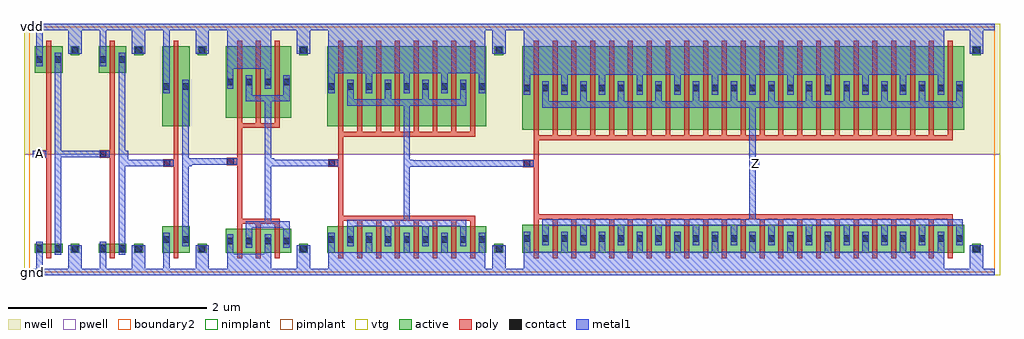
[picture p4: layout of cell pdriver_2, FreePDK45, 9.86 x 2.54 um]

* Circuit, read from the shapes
.subckt pdriver_2 A Z gnd vdd
M1 pinv_5_1/A A gnd gnd nfet w=0.09u l=0.05u
M2 pinv_10_2/A pinv_5_1/A gnd gnd nfet w=0.09u l=0.05u
M3 pinv_11_3/A pinv_10_2/A gnd gnd nfet w=0.27u l=0.05u
M4 pinv_12_4/A pinv_11_3/A gnd gnd nfet w=0.24u l=0.05u m=3
M5 pinv_13_5/A pinv_12_4/A gnd gnd nfet w=0.27u l=0.05u m=8
M6 Z pinv_13_5/A gnd gnd nfet w=0.2825u l=0.05u m=23
M7 pinv_5_1/A A vdd vdd pfet w=0.27u l=0.05u
M8 pinv_10_2/A pinv_5_1/A vdd vdd pfet w=0.27u l=0.05u
M9 pinv_11_3/A pinv_10_2/A vdd vdd pfet w=0.81u l=0.05u
M10 pinv_12_4/A pinv_11_3/A vdd vdd pfet w=0.72u l=0.05u m=3
M11 pinv_13_5/A pinv_12_4/A vdd vdd pfet w=0.81u l=0.05u m=8
M12 Z pinv_13_5/A vdd vdd pfet w=0.845u l=0.05u m=23
.ends

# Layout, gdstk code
import gdstk
lib = gdstk.Library(unit=1e-6, precision=5e-10)
def R(c, l, rs):  # rectangles x0, y0, x1, y1
    for r in rs: c.add(gdstk.rectangle(r[:2], r[2:], *l))
def A(c, l, x, y, w, h, nx, ny, dx, dy):  # array of equal rectangles
    R(c, l, [(x+i*dx, y+j*dy, x+i*dx+w, y+j*dy+h) for i in range(nx) for j in range(ny)])
active = (1, 0)
pwell = (2, 0)
nwell = (3, 0)
nimplant = (4, 0)
pimplant = (5, 0)
vtg = (6, 0)
poly = (9, 0)
contact = (10, 0)
metal1 = (11, 0)
boundary2 = (239, 0)

contact_11 = lib.new_cell('contact_11')
R(contact_11, active, [(0,0.0225,0.09,0.1125)])
R(contact_11, nwell, [(-0.055,-0.0325,0.145,0.1675)])
R(contact_11, pimplant, [(0,0.0225,0.09,0.1125)])
R(contact_11, contact, [(0.0125,0.035,0.0775,0.1)])
R(contact_11, metal1, [(0.0125,0,0.0775,0.135)])

pmos_m1_w0_270_a_p = lib.new_cell('pmos_m1_w0_270_a_p')
R(pmos_m1_w0_270_a_p, active, [(0,0,0.28,0.27)])
R(pmos_m1_w0_270_a_p, nwell, [(-0.055,-0.055,0.335,0.325)])
R(pmos_m1_w0_270_a_p, pimplant, [(0,0,0.28,0.27)])
R(pmos_m1_w0_270_a_p, vtg, [(-0.055,-0.055,0.335,0.325)])
R(pmos_m1_w0_270_a_p, poly, [(0.115,-0.055,0.165,0.325), (0.115,-0.055,0.165,0.325)])
R(pmos_m1_w0_270_a_p, metal1, [(0.0125,0.0675,0.0775,0.2025), (0.2025,0.0675,0.2675,0.2025)])
R(pmos_m1_w0_270_a_p, boundary2, [(-0.055,-0.055,0.335,0.325)])
pmos_m1_w0_270_a_p.add(gdstk.Reference(contact_11, (0,0.0675)))
pmos_m1_w0_270_a_p.add(gdstk.Reference(contact_11, (0.19,0.0675)))
pmos_m1_w0_270_a_p.add(gdstk.Label('G', (0.14,0.135), layer=9, texttype=0))
pmos_m1_w0_270_a_p.add(gdstk.Label('S', (0.045,0.135), layer=11, texttype=0))
pmos_m1_w0_270_a_p.add(gdstk.Label('D', (0.235,0.135), layer=11, texttype=0))

contact_16 = lib.new_cell('contact_16')
R(contact_16, active, [(0,0.0225,0.09,0.1125)])
R(contact_16, pwell, [(-0.055,-0.0325,0.145,0.1675)])
R(contact_16, nimplant, [(0,0.0225,0.09,0.1125)])
R(contact_16, contact, [(0.0125,0.035,0.0775,0.1)])
R(contact_16, metal1, [(0.0125,0,0.0775,0.135)])

nmos_m1_w0_090_a_p = lib.new_cell('nmos_m1_w0_090_a_p')
R(nmos_m1_w0_090_a_p, active, [(0,0,0.28,0.09)])
R(nmos_m1_w0_090_a_p, pwell, [(-0.055,-0.055,0.335,0.145)])
R(nmos_m1_w0_090_a_p, nimplant, [(0,0,0.28,0.09)])
R(nmos_m1_w0_090_a_p, vtg, [(-0.055,-0.055,0.335,0.145)])
R(nmos_m1_w0_090_a_p, poly, [(0.115,-0.055,0.165,0.145), (0.115,-0.055,0.165,0.145)])
R(nmos_m1_w0_090_a_p, metal1, [(0.0125,-0.0225,0.0775,0.1125), (0.2025,-0.0225,0.2675,0.1125)])
R(nmos_m1_w0_090_a_p, boundary2, [(-0.055,-0.055,0.335,0.145)])
nmos_m1_w0_090_a_p.add(gdstk.Reference(contact_16, (0,-0.0225)))
nmos_m1_w0_090_a_p.add(gdstk.Reference(contact_16, (0.19,-0.0225)))
nmos_m1_w0_090_a_p.add(gdstk.Label('G', (0.14,0.045), layer=9, texttype=0))
nmos_m1_w0_090_a_p.add(gdstk.Label('S', (0.045,0.045), layer=11, texttype=0))
nmos_m1_w0_090_a_p.add(gdstk.Label('D', (0.235,0.045), layer=11, texttype=0))

contact_13 = lib.new_cell('contact_13')
R(contact_13, active, [(0.0225,0,0.1125,0.09)])
R(contact_13, nwell, [(-0.0325,-0.055,0.1675,0.145)])
R(contact_13, nimplant, [(0.0225,0,0.1125,0.09)])
R(contact_13, contact, [(0.035,0.0125,0.1,0.0775)])
R(contact_13, metal1, [(0,0.0125,0.135,0.0775)])

contact_17 = lib.new_cell('contact_17')
R(contact_17, active, [(0.0225,0,0.1125,0.09)])
R(contact_17, pwell, [(-0.0325,-0.055,0.1675,0.145)])
R(contact_17, pimplant, [(0.0225,0,0.1125,0.09)])
R(contact_17, contact, [(0.035,0.0125,0.1,0.0775)])
R(contact_17, metal1, [(0,0.0125,0.135,0.0775)])

contact_12 = lib.new_cell('contact_12')
R(contact_12, poly, [(0.03,0,0.105,0.075)])
R(contact_12, contact, [(0.035,0.005,0.1,0.07)])
R(contact_12, metal1, [(0,0.005,0.135,0.07)])

pinv_5 = lib.new_cell('pinv_5')
R(pinv_5, pwell, [(-0.055,-0.0325,0.6975,1.1875)])
R(pinv_5, nwell, [(-0.055,1.1875,0.6975,2.5075)])
R(pinv_5, vtg, [(-0.055,-0.0325,0.6975,1.1875), (-0.055,1.1875,0.6975,2.5075)])
R(pinv_5, poly, [(0.17,0.34,0.22,1.955), (0.1025,1.155,0.17,1.23)])
R(pinv_5, metal1, [(0,-0.0325,0.6425,0.0325), (0.0675,-0.0325,0.1325,0.1725), (0.3925,0,0.5275,0.24), (0.2575,0.1725,0.3225,2.2125), (0.035,1.16,0.17,1.225), (0.29,1.16,0.355,1.225), (0.0675,2.0775,0.1325,2.5075), (0.3925,2.235,0.5275,2.475), (0,2.4425,0.6425,2.5075)])
R(pinv_5, boundary2, [(0,0,0.6425,2.475)])
pinv_5.add(gdstk.Reference(pmos_m1_w0_270_a_p, (0.055,2.01)))
pinv_5.add(gdstk.Reference(nmos_m1_w0_090_a_p, (0.055,0.195)))
pinv_5.add(gdstk.Reference(contact_13, (0.3925,2.19)))
pinv_5.add(gdstk.Reference(contact_17, (0.3925,0.195)))
pinv_5.add(gdstk.Reference(contact_12, (0.035,1.155)))
pinv_5.add(gdstk.Label('gnd', (0.321,0), layer=11, texttype=0))
pinv_5.add(gdstk.Label('vdd', (0.321,2.475), layer=11, texttype=0))
pinv_5.add(gdstk.Label('A', (0.1025,1.1925), layer=11, texttype=0))
pinv_5.add(gdstk.Label('Z', (0.3225,1.1925), layer=11, texttype=0))

pmos_m1_w0_810_a_p = lib.new_cell('pmos_m1_w0_810_a_p')
R(pmos_m1_w0_810_a_p, active, [(0,0,0.28,0.81)])
R(pmos_m1_w0_810_a_p, nwell, [(-0.055,-0.055,0.335,0.865)])
R(pmos_m1_w0_810_a_p, pimplant, [(0,0,0.28,0.81)])
R(pmos_m1_w0_810_a_p, vtg, [(-0.055,-0.055,0.335,0.865)])
R(pmos_m1_w0_810_a_p, poly, [(0.115,-0.055,0.165,0.865), (0.115,-0.055,0.165,0.865)])
R(pmos_m1_w0_810_a_p, metal1, [(0.0125,0.3375,0.0775,0.4725), (0.2025,0.3375,0.2675,0.4725)])
R(pmos_m1_w0_810_a_p, boundary2, [(-0.055,-0.055,0.335,0.865)])
pmos_m1_w0_810_a_p.add(gdstk.Reference(contact_11, (0,0.3375)))
pmos_m1_w0_810_a_p.add(gdstk.Reference(contact_11, (0.19,0.3375)))
pmos_m1_w0_810_a_p.add(gdstk.Label('G', (0.14,0.405), layer=9, texttype=0))
pmos_m1_w0_810_a_p.add(gdstk.Label('S', (0.045,0.405), layer=11, texttype=0))
pmos_m1_w0_810_a_p.add(gdstk.Label('D', (0.235,0.405), layer=11, texttype=0))

nmos_m1_w0_270_a_p = lib.new_cell('nmos_m1_w0_270_a_p')
R(nmos_m1_w0_270_a_p, active, [(0,0,0.28,0.27)])
R(nmos_m1_w0_270_a_p, pwell, [(-0.055,-0.055,0.335,0.325)])
R(nmos_m1_w0_270_a_p, nimplant, [(0,0,0.28,0.27)])
R(nmos_m1_w0_270_a_p, vtg, [(-0.055,-0.055,0.335,0.325)])
R(nmos_m1_w0_270_a_p, poly, [(0.115,-0.055,0.165,0.325), (0.115,-0.055,0.165,0.325)])
R(nmos_m1_w0_270_a_p, metal1, [(0.0125,0.0675,0.0775,0.2025), (0.2025,0.0675,0.2675,0.2025)])
R(nmos_m1_w0_270_a_p, boundary2, [(-0.055,-0.055,0.335,0.325)])
nmos_m1_w0_270_a_p.add(gdstk.Reference(contact_16, (0,0.0675)))
nmos_m1_w0_270_a_p.add(gdstk.Reference(contact_16, (0.19,0.0675)))
nmos_m1_w0_270_a_p.add(gdstk.Label('G', (0.14,0.135), layer=9, texttype=0))
nmos_m1_w0_270_a_p.add(gdstk.Label('S', (0.045,0.135), layer=11, texttype=0))
nmos_m1_w0_270_a_p.add(gdstk.Label('D', (0.235,0.135), layer=11, texttype=0))

pinv_10 = lib.new_cell('pinv_10')
R(pinv_10, pwell, [(-0.055,-0.0325,0.6975,1.1875)])
R(pinv_10, nwell, [(-0.055,1.1875,0.6975,2.5075)])
R(pinv_10, vtg, [(-0.055,-0.0325,0.6975,1.1875), (-0.055,1.1875,0.6975,2.5075)])
R(pinv_10, poly, [(0.17,0.52,0.22,1.415), (0.1025,1.065,0.17,1.14)])
R(pinv_10, metal1, [(0,-0.0325,0.6425,0.0325), (0.0675,-0.0325,0.1325,0.2625), (0.3925,0,0.5275,0.24), (0.2575,0.2625,0.3225,1.9425), (0.035,1.07,0.17,1.135), (0.29,1.07,0.355,1.135), (0.0675,1.8075,0.1325,2.5075), (0.3925,2.235,0.5275,2.475), (0,2.4425,0.6425,2.5075)])
R(pinv_10, boundary2, [(0,0,0.6425,2.475)])
pinv_10.add(gdstk.Reference(pmos_m1_w0_810_a_p, (0.055,1.47)))
pinv_10.add(gdstk.Reference(nmos_m1_w0_270_a_p, (0.055,0.195)))
pinv_10.add(gdstk.Reference(contact_13, (0.3925,2.19)))
pinv_10.add(gdstk.Reference(contact_17, (0.3925,0.195)))
pinv_10.add(gdstk.Reference(contact_12, (0.035,1.065)))
pinv_10.add(gdstk.Label('gnd', (0.321,0), layer=11, texttype=0))
pinv_10.add(gdstk.Label('vdd', (0.321,2.475), layer=11, texttype=0))
pinv_10.add(gdstk.Label('A', (0.1025,1.1025), layer=11, texttype=0))
pinv_10.add(gdstk.Label('Z', (0.3225,1.1025), layer=11, texttype=0))

pmos_m3_w0_720_a_p = lib.new_cell('pmos_m3_w0_720_a_p')
R(pmos_m3_w0_720_a_p, active, [(0,0,0.66,0.72)])
R(pmos_m3_w0_720_a_p, nwell, [(-0.055,-0.055,0.715,0.775)])
R(pmos_m3_w0_720_a_p, pimplant, [(0,0,0.66,0.72)])
R(pmos_m3_w0_720_a_p, vtg, [(-0.055,-0.055,0.715,0.775)])
A(pmos_m3_w0_720_a_p, poly, 0.115, -0.055, 0.05, 0.83, 3, 1, 0.19, 0)
R(pmos_m3_w0_720_a_p, poly, [(0.115,-0.105,0.545,-0.055)])
R(pmos_m3_w0_720_a_p, metal1, [(0.2025,0.1625,0.6475,0.2275), (0.2025,0.195,0.2675,0.36), (0.5825,0.195,0.6475,0.36), (0.0125,0.36,0.0775,0.525), (0.3925,0.36,0.4575,0.525), (0.0125,0.4925,0.4575,0.5575)])
R(pmos_m3_w0_720_a_p, boundary2, [(-0.055,-0.055,0.715,0.775)])
pmos_m3_w0_720_a_p.add(gdstk.Reference(contact_11, (0,0.2925)))
pmos_m3_w0_720_a_p.add(gdstk.Reference(contact_11, (0.38,0.2925)))
pmos_m3_w0_720_a_p.add(gdstk.Reference(contact_11, (0.19,0.2925)))
pmos_m3_w0_720_a_p.add(gdstk.Reference(contact_11, (0.57,0.2925)))
pmos_m3_w0_720_a_p.add(gdstk.Label('G', (0.33,-0.08), layer=9, texttype=0))
pmos_m3_w0_720_a_p.add(gdstk.Label('S', (0.235,0.525), layer=11, texttype=0))
pmos_m3_w0_720_a_p.add(gdstk.Label('D', (0.425,0.195), layer=11, texttype=0))

nmos_m3_w0_240_a_p = lib.new_cell('nmos_m3_w0_240_a_p')
R(nmos_m3_w0_240_a_p, active, [(0,0,0.66,0.24)])
R(nmos_m3_w0_240_a_p, pwell, [(-0.055,-0.055,0.715,0.295)])
R(nmos_m3_w0_240_a_p, nimplant, [(0,0,0.66,0.24)])
R(nmos_m3_w0_240_a_p, vtg, [(-0.055,-0.055,0.715,0.295)])
A(nmos_m3_w0_240_a_p, poly, 0.115, -0.055, 0.05, 0.35, 3, 1, 0.19, 0)
R(nmos_m3_w0_240_a_p, poly, [(0.115,0.295,0.545,0.345)])
R(nmos_m3_w0_240_a_p, metal1, [(0.0125,-0.0775,0.4575,-0.0125), (0.0125,-0.045,0.0775,0.12), (0.3925,-0.045,0.4575,0.12), (0.2025,0.12,0.2675,0.285), (0.5825,0.12,0.6475,0.285), (0.2025,0.2525,0.6475,0.3175)])
R(nmos_m3_w0_240_a_p, boundary2, [(-0.055,-0.055,0.715,0.295)])
nmos_m3_w0_240_a_p.add(gdstk.Reference(contact_16, (0,0.0525)))
nmos_m3_w0_240_a_p.add(gdstk.Reference(contact_16, (0.38,0.0525)))
nmos_m3_w0_240_a_p.add(gdstk.Reference(contact_16, (0.19,0.0525)))
nmos_m3_w0_240_a_p.add(gdstk.Reference(contact_16, (0.57,0.0525)))
nmos_m3_w0_240_a_p.add(gdstk.Label('G', (0.33,0.32), layer=9, texttype=0))
nmos_m3_w0_240_a_p.add(gdstk.Label('S', (0.235,-0.045), layer=11, texttype=0))
nmos_m3_w0_240_a_p.add(gdstk.Label('D', (0.425,0.285), layer=11, texttype=0))

pinv_11 = lib.new_cell('pinv_11')
R(pinv_11, pwell, [(-0.055,-0.0325,1.0775,1.1875)])
R(pinv_11, nwell, [(-0.055,1.1875,1.0775,2.5075)])
R(pinv_11, vtg, [(-0.055,-0.0325,1.0775,1.1875), (-0.055,1.1875,1.0775,2.5075)])
R(pinv_11, poly, [(0.17,0.54,0.22,1.455), (0.1025,1.08,0.17,1.155)])
R(pinv_11, metal1, [(0,-0.0325,1.0225,0.0325), (0.0675,-0.0325,0.5125,0.1175), (0.7725,0,0.9075,0.24), (0.4475,0.4475,0.5125,1.7875), (0.035,1.085,0.17,1.15), (0.48,1.085,0.545,1.15), (0.0675,2.0525,0.5125,2.5075), (0.7725,2.235,0.9075,2.475), (0,2.4425,1.0225,2.5075)])
R(pinv_11, boundary2, [(0,0,1.0225,2.475)])
pinv_11.add(gdstk.Reference(pmos_m3_w0_720_a_p, (0.055,1.56)))
pinv_11.add(gdstk.Reference(nmos_m3_w0_240_a_p, (0.055,0.195)))
pinv_11.add(gdstk.Reference(contact_13, (0.7725,2.19)))
pinv_11.add(gdstk.Reference(contact_17, (0.7725,0.195)))
pinv_11.add(gdstk.Reference(contact_12, (0.035,1.08)))
pinv_11.add(gdstk.Label('gnd', (0.511,0), layer=11, texttype=0))
pinv_11.add(gdstk.Label('vdd', (0.511,2.475), layer=11, texttype=0))
pinv_11.add(gdstk.Label('A', (0.1025,1.1175), layer=11, texttype=0))
pinv_11.add(gdstk.Label('Z', (0.5125,1.1175), layer=11, texttype=0))

pmos_m8_w0_810_a_p = lib.new_cell('pmos_m8_w0_810_a_p')
R(pmos_m8_w0_810_a_p, active, [(0,0,1.61,0.81)])
R(pmos_m8_w0_810_a_p, nwell, [(-0.055,-0.055,1.665,0.865)])
R(pmos_m8_w0_810_a_p, pimplant, [(0,0,1.61,0.81)])
R(pmos_m8_w0_810_a_p, vtg, [(-0.055,-0.055,1.665,0.865)])
A(pmos_m8_w0_810_a_p, poly, 0.115, -0.055, 0.05, 0.92, 8, 1, 0.19, 0)
R(pmos_m8_w0_810_a_p, poly, [(0.115,-0.105,1.495,-0.055)])
A(pmos_m8_w0_810_a_p, metal1, 0.2025, 0.24, 0.065, 0.165, 4, 1, 0.38, 0)
A(pmos_m8_w0_810_a_p, metal1, 0.0125, 0.405, 0.065, 0.165, 5, 1, 0.38, 0)
R(pmos_m8_w0_810_a_p, metal1, [(0.2025,0.2075,1.4075,0.2725), (0.0125,0.5375,1.5975,0.6025)])
R(pmos_m8_w0_810_a_p, boundary2, [(-0.055,-0.055,1.665,0.865)])
pmos_m8_w0_810_a_p.add(gdstk.Reference(contact_11, (0,0.3375)))
pmos_m8_w0_810_a_p.add(gdstk.Reference(contact_11, (0.38,0.3375)))
pmos_m8_w0_810_a_p.add(gdstk.Reference(contact_11, (0.76,0.3375)))
pmos_m8_w0_810_a_p.add(gdstk.Reference(contact_11, (1.14,0.3375)))
pmos_m8_w0_810_a_p.add(gdstk.Reference(contact_11, (1.52,0.3375)))
pmos_m8_w0_810_a_p.add(gdstk.Reference(contact_11, (0.19,0.3375)))
pmos_m8_w0_810_a_p.add(gdstk.Reference(contact_11, (0.57,0.3375)))
pmos_m8_w0_810_a_p.add(gdstk.Reference(contact_11, (0.95,0.3375)))
pmos_m8_w0_810_a_p.add(gdstk.Reference(contact_11, (1.33,0.3375)))
pmos_m8_w0_810_a_p.add(gdstk.Label('G', (0.805,-0.08), layer=9, texttype=0))
pmos_m8_w0_810_a_p.add(gdstk.Label('S', (0.805,0.57), layer=11, texttype=0))
pmos_m8_w0_810_a_p.add(gdstk.Label('D', (0.805,0.24), layer=11, texttype=0))

nmos_m8_w0_270_a_p = lib.new_cell('nmos_m8_w0_270_a_p')
R(nmos_m8_w0_270_a_p, active, [(0,0,1.61,0.27)])
R(nmos_m8_w0_270_a_p, pwell, [(-0.055,-0.055,1.665,0.325)])
R(nmos_m8_w0_270_a_p, nimplant, [(0,0,1.61,0.27)])
R(nmos_m8_w0_270_a_p, vtg, [(-0.055,-0.055,1.665,0.325)])
A(nmos_m8_w0_270_a_p, poly, 0.115, -0.055, 0.05, 0.38, 8, 1, 0.19, 0)
R(nmos_m8_w0_270_a_p, poly, [(0.115,0.325,1.495,0.375)])
A(nmos_m8_w0_270_a_p, metal1, 0.0125, -0.03, 0.065, 0.165, 5, 1, 0.38, 0)
A(nmos_m8_w0_270_a_p, metal1, 0.2025, 0.135, 0.065, 0.165, 4, 1, 0.38, 0)
R(nmos_m8_w0_270_a_p, metal1, [(0.0125,-0.0625,1.5975,0.0025), (0.2025,0.2675,1.4075,0.3325)])
R(nmos_m8_w0_270_a_p, boundary2, [(-0.055,-0.055,1.665,0.325)])
nmos_m8_w0_270_a_p.add(gdstk.Reference(contact_16, (0,0.0675)))
nmos_m8_w0_270_a_p.add(gdstk.Reference(contact_16, (0.38,0.0675)))
nmos_m8_w0_270_a_p.add(gdstk.Reference(contact_16, (0.76,0.0675)))
nmos_m8_w0_270_a_p.add(gdstk.Reference(contact_16, (1.14,0.0675)))
nmos_m8_w0_270_a_p.add(gdstk.Reference(contact_16, (1.52,0.0675)))
nmos_m8_w0_270_a_p.add(gdstk.Reference(contact_16, (0.19,0.0675)))
nmos_m8_w0_270_a_p.add(gdstk.Reference(contact_16, (0.57,0.0675)))
nmos_m8_w0_270_a_p.add(gdstk.Reference(contact_16, (0.95,0.0675)))
nmos_m8_w0_270_a_p.add(gdstk.Reference(contact_16, (1.33,0.0675)))
nmos_m8_w0_270_a_p.add(gdstk.Label('G', (0.805,0.35), layer=9, texttype=0))
nmos_m8_w0_270_a_p.add(gdstk.Label('S', (0.805,-0.03), layer=11, texttype=0))
nmos_m8_w0_270_a_p.add(gdstk.Label('D', (0.805,0.3), layer=11, texttype=0))

pinv_12 = lib.new_cell('pinv_12')
R(pinv_12, pwell, [(-0.055,-0.0325,2.0275,1.1875)])
R(pinv_12, nwell, [(-0.055,1.1875,2.0275,2.5075)])
R(pinv_12, vtg, [(-0.055,-0.0325,2.0275,1.1875), (-0.055,1.1875,2.0275,2.5075)])
R(pinv_12, poly, [(0.17,0.57,0.22,1.365), (0.1025,1.065,0.17,1.14)])
R(pinv_12, metal1, [(0,-0.0325,1.9725,0.0325), (0.0675,-0.0325,1.6525,0.1325), (1.7225,0,1.8575,0.24), (0.8275,0.4625,0.8925,1.7425), (0.035,1.07,0.17,1.135), (0.86,1.07,0.925,1.135), (0.0675,2.0075,1.6525,2.5075), (1.7225,2.235,1.8575,2.475), (0,2.4425,1.9725,2.5075)])
R(pinv_12, boundary2, [(0,0,1.9725,2.475)])
pinv_12.add(gdstk.Reference(pmos_m8_w0_810_a_p, (0.055,1.47)))
pinv_12.add(gdstk.Reference(nmos_m8_w0_270_a_p, (0.055,0.195)))
pinv_12.add(gdstk.Reference(contact_13, (1.7225,2.19)))
pinv_12.add(gdstk.Reference(contact_17, (1.7225,0.195)))
pinv_12.add(gdstk.Reference(contact_12, (0.035,1.065)))
pinv_12.add(gdstk.Label('gnd', (0.9865,0), layer=11, texttype=0))
pinv_12.add(gdstk.Label('vdd', (0.9865,2.475), layer=11, texttype=0))
pinv_12.add(gdstk.Label('A', (0.1025,1.1025), layer=11, texttype=0))
pinv_12.add(gdstk.Label('Z', (0.8925,1.1025), layer=11, texttype=0))

pmos_m23_w0_845_a_p = lib.new_cell('pmos_m23_w0_845_a_p')
R(pmos_m23_w0_845_a_p, active, [(0,0,4.46,0.845)])
R(pmos_m23_w0_845_a_p, nwell, [(-0.055,-0.055,4.515,0.9)])
R(pmos_m23_w0_845_a_p, pimplant, [(0,0,4.46,0.845)])
R(pmos_m23_w0_845_a_p, vtg, [(-0.055,-0.055,4.515,0.9)])
A(pmos_m23_w0_845_a_p, poly, 0.115, -0.055, 0.05, 0.955, 23, 1, 0.19, 0)
R(pmos_m23_w0_845_a_p, poly, [(0.115,-0.105,4.345,-0.055)])
A(pmos_m23_w0_845_a_p, metal1, 0.2025, 0.2575, 0.065, 0.165, 12, 1, 0.38, 0)
A(pmos_m23_w0_845_a_p, metal1, 0.0125, 0.4225, 0.065, 0.165, 12, 1, 0.38, 0)
R(pmos_m23_w0_845_a_p, metal1, [(0.2025,0.225,4.4475,0.29), (0.0125,0.555,4.2575,0.62)])
R(pmos_m23_w0_845_a_p, boundary2, [(-0.055,-0.055,4.515,0.9)])
pmos_m23_w0_845_a_p.add(gdstk.Reference(contact_11, (0,0.355)))
pmos_m23_w0_845_a_p.add(gdstk.Reference(contact_11, (0.38,0.355)))
pmos_m23_w0_845_a_p.add(gdstk.Reference(contact_11, (0.76,0.355)))
pmos_m23_w0_845_a_p.add(gdstk.Reference(contact_11, (1.14,0.355)))
pmos_m23_w0_845_a_p.add(gdstk.Reference(contact_11, (1.52,0.355)))
pmos_m23_w0_845_a_p.add(gdstk.Reference(contact_11, (1.9,0.355)))
pmos_m23_w0_845_a_p.add(gdstk.Reference(contact_11, (2.28,0.355)))
pmos_m23_w0_845_a_p.add(gdstk.Reference(contact_11, (2.66,0.355)))
pmos_m23_w0_845_a_p.add(gdstk.Reference(contact_11, (3.04,0.355)))
pmos_m23_w0_845_a_p.add(gdstk.Reference(contact_11, (3.42,0.355)))
pmos_m23_w0_845_a_p.add(gdstk.Reference(contact_11, (3.8,0.355)))
pmos_m23_w0_845_a_p.add(gdstk.Reference(contact_11, (4.18,0.355)))
pmos_m23_w0_845_a_p.add(gdstk.Reference(contact_11, (0.19,0.355)))
pmos_m23_w0_845_a_p.add(gdstk.Reference(contact_11, (0.57,0.355)))
pmos_m23_w0_845_a_p.add(gdstk.Reference(contact_11, (0.95,0.355)))
pmos_m23_w0_845_a_p.add(gdstk.Reference(contact_11, (1.33,0.355)))
pmos_m23_w0_845_a_p.add(gdstk.Reference(contact_11, (1.71,0.355)))
pmos_m23_w0_845_a_p.add(gdstk.Reference(contact_11, (2.09,0.355)))
pmos_m23_w0_845_a_p.add(gdstk.Reference(contact_11, (2.47,0.355)))
pmos_m23_w0_845_a_p.add(gdstk.Reference(contact_11, (2.85,0.355)))
pmos_m23_w0_845_a_p.add(gdstk.Reference(contact_11, (3.23,0.355)))
pmos_m23_w0_845_a_p.add(gdstk.Reference(contact_11, (3.61,0.355)))
pmos_m23_w0_845_a_p.add(gdstk.Reference(contact_11, (3.99,0.355)))
pmos_m23_w0_845_a_p.add(gdstk.Reference(contact_11, (4.37,0.355)))
pmos_m23_w0_845_a_p.add(gdstk.Label('G', (2.23,-0.08), layer=9, texttype=0))
pmos_m23_w0_845_a_p.add(gdstk.Label('S', (2.135,0.5875), layer=11, texttype=0))
pmos_m23_w0_845_a_p.add(gdstk.Label('D', (2.325,0.2575), layer=11, texttype=0))

nmos_m23_w0_283_a_p = lib.new_cell('nmos_m23_w0_283_a_p')
R(nmos_m23_w0_283_a_p, active, [(0,0,4.46,0.2825)])
R(nmos_m23_w0_283_a_p, pwell, [(-0.055,-0.055,4.515,0.3375)])
R(nmos_m23_w0_283_a_p, nimplant, [(0,0,4.46,0.2825)])
R(nmos_m23_w0_283_a_p, vtg, [(-0.055,-0.055,4.515,0.3375)])
A(nmos_m23_w0_283_a_p, poly, 0.115, -0.055, 0.05, 0.3925, 23, 1, 0.19, 0)
R(nmos_m23_w0_283_a_p, poly, [(0.115,0.3375,4.345,0.3875)])
A(nmos_m23_w0_283_a_p, metal1, 0.0125, -0.025, 0.065, 0.165, 12, 1, 0.38, 0)
A(nmos_m23_w0_283_a_p, metal1, 0.2025, 0.14, 0.065, 0.165, 12, 1, 0.38, 0)
R(nmos_m23_w0_283_a_p, metal1, [(0.0125,-0.055,4.2575,0.01), (0.2025,0.275,4.4475,0.34)])
R(nmos_m23_w0_283_a_p, boundary2, [(-0.055,-0.055,4.515,0.3375)])
nmos_m23_w0_283_a_p.add(gdstk.Reference(contact_16, (0,0.075)))
nmos_m23_w0_283_a_p.add(gdstk.Reference(contact_16, (0.38,0.075)))
nmos_m23_w0_283_a_p.add(gdstk.Reference(contact_16, (0.76,0.075)))
nmos_m23_w0_283_a_p.add(gdstk.Reference(contact_16, (1.14,0.075)))
nmos_m23_w0_283_a_p.add(gdstk.Reference(contact_16, (1.52,0.075)))
nmos_m23_w0_283_a_p.add(gdstk.Reference(contact_16, (1.9,0.075)))
nmos_m23_w0_283_a_p.add(gdstk.Reference(contact_16, (2.28,0.075)))
nmos_m23_w0_283_a_p.add(gdstk.Reference(contact_16, (2.66,0.075)))
nmos_m23_w0_283_a_p.add(gdstk.Reference(contact_16, (3.04,0.075)))
nmos_m23_w0_283_a_p.add(gdstk.Reference(contact_16, (3.42,0.075)))
nmos_m23_w0_283_a_p.add(gdstk.Reference(contact_16, (3.8,0.075)))
nmos_m23_w0_283_a_p.add(gdstk.Reference(contact_16, (4.18,0.075)))
nmos_m23_w0_283_a_p.add(gdstk.Reference(contact_16, (0.19,0.075)))
nmos_m23_w0_283_a_p.add(gdstk.Reference(contact_16, (0.57,0.075)))
nmos_m23_w0_283_a_p.add(gdstk.Reference(contact_16, (0.95,0.075)))
nmos_m23_w0_283_a_p.add(gdstk.Reference(contact_16, (1.33,0.075)))
nmos_m23_w0_283_a_p.add(gdstk.Reference(contact_16, (1.71,0.075)))
nmos_m23_w0_283_a_p.add(gdstk.Reference(contact_16, (2.09,0.075)))
nmos_m23_w0_283_a_p.add(gdstk.Reference(contact_16, (2.47,0.075)))
nmos_m23_w0_283_a_p.add(gdstk.Reference(contact_16, (2.85,0.075)))
nmos_m23_w0_283_a_p.add(gdstk.Reference(contact_16, (3.23,0.075)))
nmos_m23_w0_283_a_p.add(gdstk.Reference(contact_16, (3.61,0.075)))
nmos_m23_w0_283_a_p.add(gdstk.Reference(contact_16, (3.99,0.075)))
nmos_m23_w0_283_a_p.add(gdstk.Reference(contact_16, (4.37,0.075)))
nmos_m23_w0_283_a_p.add(gdstk.Label('G', (2.23,0.3625), layer=9, texttype=0))
nmos_m23_w0_283_a_p.add(gdstk.Label('S', (2.135,-0.0225), layer=11, texttype=0))
nmos_m23_w0_283_a_p.add(gdstk.Label('D', (2.325,0.3075), layer=11, texttype=0))

pinv_13 = lib.new_cell('pinv_13')
R(pinv_13, pwell, [(-0.055,-0.0325,4.8775,1.1875)])
R(pinv_13, nwell, [(-0.055,1.1875,4.8775,2.5075)])
R(pinv_13, vtg, [(-0.055,-0.0325,4.8775,1.1875), (-0.055,1.1875,4.8775,2.5075)])
R(pinv_13, poly, [(0.17,0.5825,0.22,1.33), (0.1025,1.06,0.17,1.135)])
R(pinv_13, metal1, [(0,-0.0325,4.8225,0.0325), (0.0675,-0.0325,4.3125,0.14), (4.5725,0,4.7075,0.24), (2.3475,0.47,2.4125,1.725), (0.035,1.065,0.17,1.13), (2.38,1.065,2.445,1.13), (0.0675,1.99,4.3125,2.5075), (4.5725,2.235,4.7075,2.475), (0,2.4425,4.8225,2.5075)])
R(pinv_13, boundary2, [(0,0,4.8225,2.475)])
pinv_13.add(gdstk.Reference(pmos_m23_w0_845_a_p, (0.055,1.435)))
pinv_13.add(gdstk.Reference(nmos_m23_w0_283_a_p, (0.055,0.195)))
pinv_13.add(gdstk.Reference(contact_13, (4.5725,2.19)))
pinv_13.add(gdstk.Reference(contact_17, (4.5725,0.195)))
pinv_13.add(gdstk.Reference(contact_12, (0.035,1.06)))
pinv_13.add(gdstk.Label('gnd', (2.411,0), layer=11, texttype=0))
pinv_13.add(gdstk.Label('vdd', (2.411,2.475), layer=11, texttype=0))
pinv_13.add(gdstk.Label('A', (0.1025,1.0975), layer=11, texttype=0))
pinv_13.add(gdstk.Label('Z', (2.4125,1.0975), layer=11, texttype=0))

pdriver_2 = lib.new_cell('pdriver_2')
R(pdriver_2, metal1, [(0,-0.0325,0.065,0.0325), (3.81,1.065,3.875,1.13), (3.8425,1.065,5.025,1.13), (7.3025,1.065,7.3675,1.13), (0.9325,1.07,0.9975,1.135), (0.965,1.07,1.3875,1.135), (2.4075,1.07,2.4725,1.135), (2.44,1.07,3.0525,1.135), (1.575,1.085,1.64,1.15), (1.6075,1.085,2.03,1.15), (3.81,1.0975,3.875,1.1025), (0.9325,1.1025,0.9975,1.1925), (1.575,1.1025,1.64,1.1175), (2.4075,1.1025,2.4725,1.1175), (0.035,1.16,0.17,1.225), (0.3225,1.16,0.745,1.225), (0,2.4425,0.065,2.5075)])
R(pdriver_2, boundary2, [(0,0,9.745,2.475)])
pdriver_2.add(gdstk.Reference(pinv_5, (0,0)))
pdriver_2.add(gdstk.Reference(pinv_5, (0.6425,0)))
pdriver_2.add(gdstk.Reference(pinv_10, (1.285,0)))
pdriver_2.add(gdstk.Reference(pinv_11, (1.9275,0)))
pdriver_2.add(gdstk.Reference(pinv_12, (2.95,0)))
pdriver_2.add(gdstk.Reference(pinv_13, (4.9225,0)))
pdriver_2.add(gdstk.Label('vdd', (0.0325,2.475), layer=11, texttype=0))
pdriver_2.add(gdstk.Label('gnd', (0.0325,0), layer=11, texttype=0))
pdriver_2.add(gdstk.Label('Z', (7.335,1.0975), layer=11, texttype=0))
pdriver_2.add(gdstk.Label('A', (0.1025,1.1925), layer=11, texttype=0))

lib.write_gds('pdriver_2.gds')
